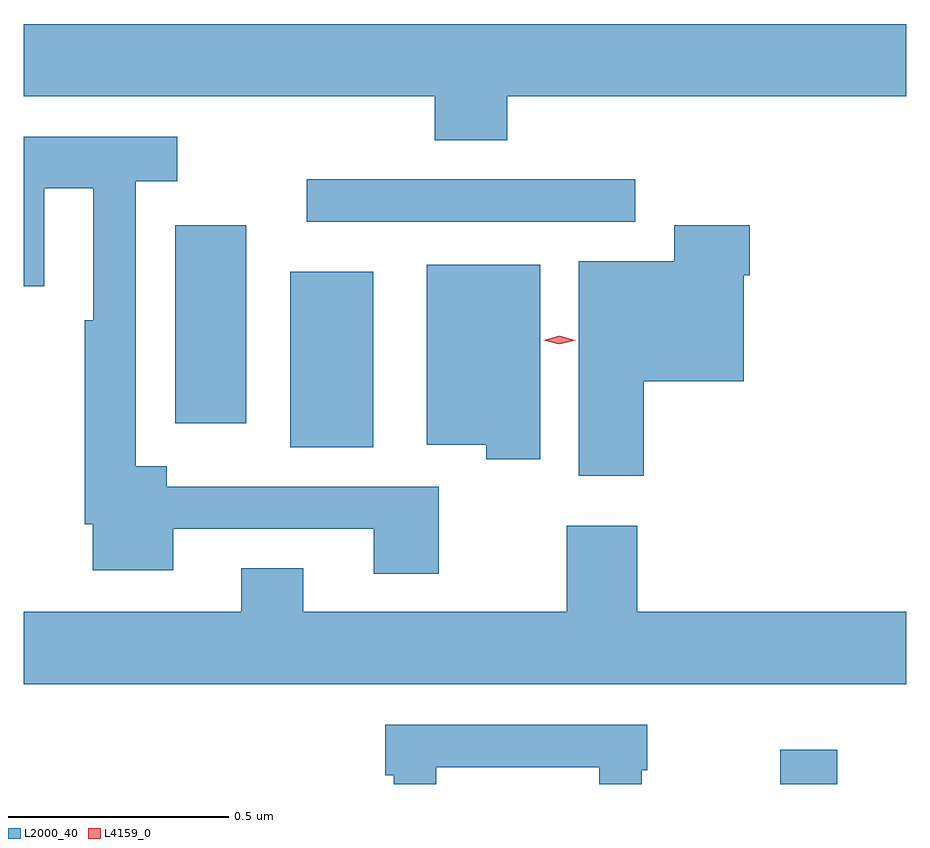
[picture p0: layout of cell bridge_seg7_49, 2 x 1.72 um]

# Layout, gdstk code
import gdstk
lib = gdstk.Library(unit=1e-6, precision=1e-09)
def R(c, l, rs):  # rectangles x0, y0, x1, y1
    for r in rs: c.add(gdstk.rectangle(r[:2], r[2:], *l))
def P(c, l, *ps):  # polygons
    for p in ps: c.add(gdstk.Polygon(p, *l))
L2000_40 = (2000, 40)
L4159_0 = (4159, 0)

bridge_seg7_49 = lib.new_cell('bridge_seg7_49')
R(bridge_seg7_49, L2000_40, [(953.906,1033.69,954.036,1033.768), (952.796,1034.453,952.984,1034.851), (952.535,1034.507,952.696,1034.956), (952.833,1034.964,953.578,1035.06)])
P(bridge_seg7_49, L2000_40, [(953.288,1035.248),(954.192,1035.248),(954.192,1035.412),(952.192,1035.412),(952.192,1035.248),(953.123,1035.248),(953.123,1035.149),(953.288,1035.149)],
  [(953.133,1034.364),(952.516,1034.364),(952.516,1034.41),(952.446,1034.41),(952.446,1035.056),(952.54,1035.056),(952.54,1035.156),(952.192,1035.156),(952.192,1034.818),(952.239,1034.818),(952.239,1035.04),(952.35,1035.04),(952.35,1034.741),(952.33,1034.741),(952.33,1034.278),(952.349,1034.278),(952.349,1034.174),(952.531,1034.174),(952.531,1034.268),(952.985,1034.268),(952.985,1034.166),(953.133,1034.166)],
  [(953.597,1034.603),(953.824,1034.603),(953.824,1034.843),(953.837,1034.843),(953.837,1034.956),(953.666,1034.956),(953.666,1034.875),(953.45,1034.875),(953.45,1034.388),(953.597,1034.388)],
  [(953.362,1034.866),(953.105,1034.866),(953.105,1034.459),(953.24,1034.459),(953.24,1034.426),(953.362,1034.426)],
  [(954.192,1034.08),(953.582,1034.08),(953.582,1034.275),(953.422,1034.275),(953.422,1034.08),(952.825,1034.08),(952.825,1034.179),(952.685,1034.179),(952.685,1034.08),(952.192,1034.08),(952.192,1033.916),(954.192,1033.916)],
  [(953.127,1033.728),(953.496,1033.728),(953.496,1033.69),(953.592,1033.69),(953.592,1033.721),(953.605,1033.721),(953.605,1033.824),(953.011,1033.824),(953.011,1033.71),(953.031,1033.71),(953.031,1033.69),(953.127,1033.69)])
P(bridge_seg7_49, L4159_0, [(953.406,1034.686),(953.37,1034.696),(953.37,1034.696),(953.37,1034.696),(953.406,1034.706),(953.442,1034.696),(953.443,1034.696),(953.442,1034.696)])

lib.write_gds('bridge_seg7_49.gds')
